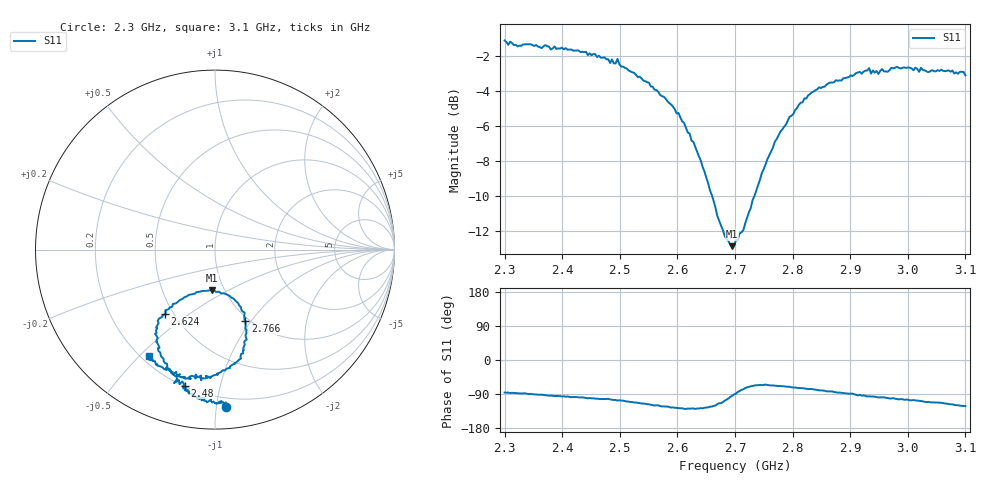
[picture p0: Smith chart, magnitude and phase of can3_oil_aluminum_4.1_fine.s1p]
# MHz S MA R 50
!  freq  S11
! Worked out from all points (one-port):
!   250 points, 2.3 GHz to 3.1 GHz, reference 50 ohm
!   lowest |S11| = -12.9 dB at 2.695 GHz (marker M1), VSWR 1.59, Z = 43.7 - j20.8 ohm
!   |S11| at or under -10 dB: 2.66 GHz to 2.734 GHz (73.85 MHz wide, 2.74 % of centre)
!   S11 on the Smith chart (normalised r, x): 2.3 GHz: 0.14, -1.07; 2.48 GHz: 0.21, -0.78; 2.624 GHz: 0.45, -0.41; 2.766 GHz: 0.95, -0.94; 3.1 GHz: 0.23, -0.53
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2300  0.8779 -85.8
2306.426  0.8532 -85.9
2309.639  0.8709 -87.2
2335.341  0.8554 -87.9
2402.811  0.828 -95.7
2463.855  0.7942 -102.8
2479.92  0.7758 -102.4
2489.558  0.755 -105.5
2495.984  0.7776 -107.1
2502.41  0.7392 -107.0
2557.028  0.6474 -119.1
2602.008  0.5448 -127.1
2624.498  0.4543 -127.8
2666.265  0.2913 -120.0
2682.329  0.2421 -107.1
2695.181  0.2268 -94.3
2701.606  0.2356 -88.7
2714.458  0.252 -77.3
2730.522  0.3071 -68.2
2765.863  0.4339 -67.1
2801.205  0.5409 -72.5
2833.333  0.6239 -76.5
2846.185  0.6451 -80.3
2900.803  0.6979 -88.8
2929.719  0.7208 -96.2
3000.402  0.7352 -104.7
3058.233  0.7244 -112.9
3100  0.6976 -122.0
